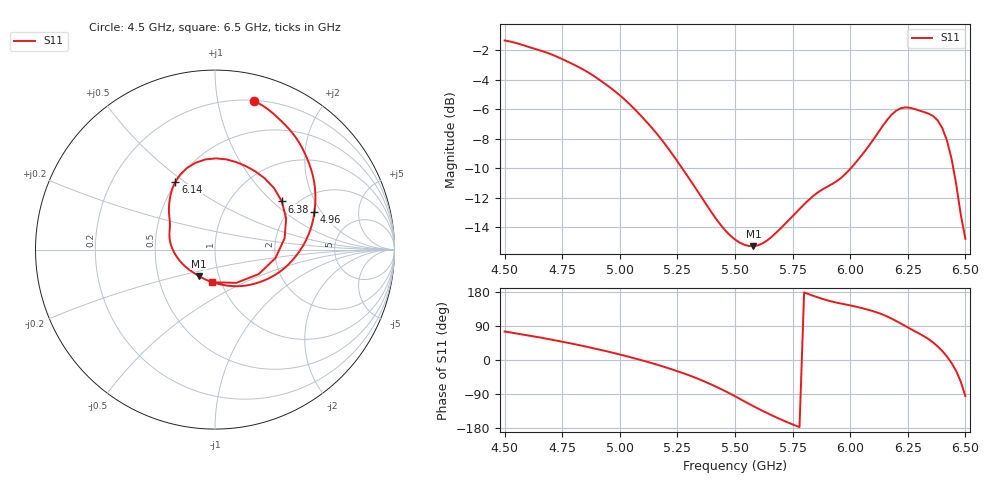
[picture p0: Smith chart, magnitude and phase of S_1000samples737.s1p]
! TOUCHSTONE file generated by CST MICROWAVE STUDIO
! Date and time: Sat Oct 29 05:19:55 2022
! Project name: L.cst
! Parameters = {Di=1.27; Epsilon_r=1.56; InnerDiameter=1.27; Length=2; Lf=10; Lg=60; OuterConductorThickness=0.2921; OuterDiameter=3.6; Wf=3; Wp=41.2; de=1.5; df=6.8; g=0.8; gx=2.42148; gy=2.6488; h=2.34; hf=1.524; px=13.0143; py=12.9391; w=9.7; wx=10.5929; wy=10.2903}
! Header version: 2018
! Port assignment regex: !\s*Touchstone port\s*([0-9]+)\s*=\s*(CST MWS port|CST DS port)\s*([0-9]+|Zmin|Zmax)\s*\(\"(.*)\"\)(\s*mode\s*([0-9]+))?.*
! Touchstone port assignment:
! Touchstone port 1 = CST MWS port 1 ("")
# GHz S DB R 50
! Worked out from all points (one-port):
!   101 points, 4.5 GHz to 6.5 GHz, reference 50 ohm
!   lowest |S11| = -15.3 dB at 5.58 GHz (marker M1), VSWR 1.42, Z = 40 - j12.1 ohm
!   |S11| at or under -10 dB: 5.271 GHz to 6.002 GHz (731.7 MHz wide, 13 % of centre); 6.447 GHz to end of sweep
!   S11 on the Smith chart (normalised r, x): 4.5 GHz: 0.21, +1.28; 4.96 GHz: 2.69, +1.71; 6.14 GHz: 0.49, +0.46; 6.38 GHz: 1.69, +1.15; 6.5 GHz: 0.90, -0.34
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4.5  -1.35 75.2
4.64  -1.96 60.9
4.76  -2.69 47.1
4.86  -3.49 34.4
4.96  -4.56 20.5
5  -5.06 14.6
5.14  -7.28 -8.4
5.26  -9.76 -31.6
5.36  -12.08 -54.8
5.5  -14.82 -95.6
5.58  -15.27 -121.9
5.64  -14.88 -140.2
5.76  -13.08 -172.4
5.84  -11.87 169.4
6  -10.04 144.1
6.08  -8.50 132.2
6.14  -7.16 120.1
6.2  -6.10 102.8
6.26  -5.91 82.7
6.3  -6.09 69.6
6.34  -6.30 55.1
6.38  -6.76 35.8
6.4  -7.28 23.5
6.42  -8.12 9.2
6.44  -9.36 -8.0
6.46  -11.07 -29.2
6.48  -13.14 -57.3
6.5  -14.77 -95.6
